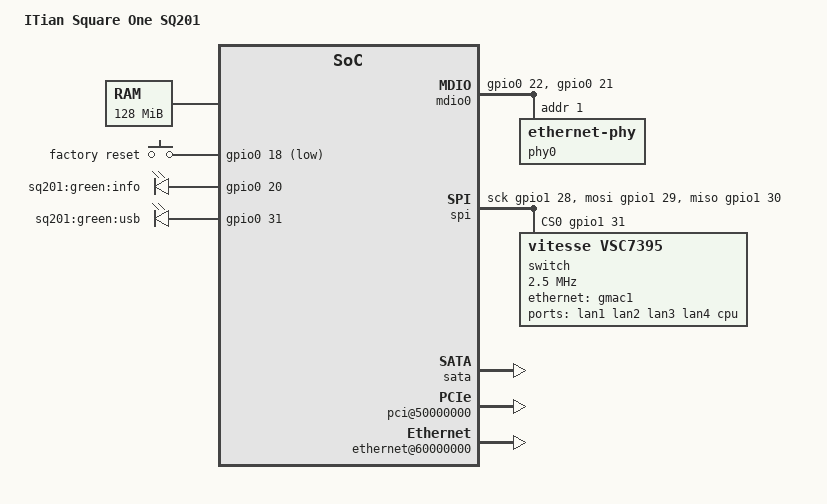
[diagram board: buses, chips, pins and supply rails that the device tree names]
// SPDX-License-Identifier: GPL-2.0
/*
 * Device Tree file for ITian Square One SQ201 NAS
 */

/dts-v1/;

#include "gemini.dtsi"
#include <dt-bindings/input/input.h>

/ {
	model = "ITian Square One SQ201";
	compatible = "itian,sq201", "cortina,gemini";
	#address-cells = <1>;
	#size-cells = <1>;

	memory@0 { /* 128 MB */
		device_type = "memory";
		reg = <0x00000000 0x8000000>;
	};

	chosen {
		bootargs = "console=ttyS0,115200n8 root=/dev/mtdblock2 rw rootfstype=squashfs,jffs2 rootwait";
		stdout-path = &uart0;
	};

	gpio_keys {
		compatible = "gpio-keys";

		button-setup {
			debounce-interval = <50>;
			wakeup-source;
			linux,code = <KEY_SETUP>;
			label = "factory reset";
			/* Conflict with NAND flash */
			gpios = <&gpio0 18 GPIO_ACTIVE_LOW>;
		};
	};

	leds {
		compatible = "gpio-leds";
		led-green-info {
			label = "sq201:green:info";
			/* Conflict with parallel flash */
			gpios = <&gpio0 20 GPIO_ACTIVE_HIGH>;
			default-state = "on";
			linux,default-trigger = "heartbeat";
		};
		led-green-usb {
			label = "sq201:green:usb";
			/* Conflict with parallel and NAND flash */
			gpios = <&gpio0 31 GPIO_ACTIVE_HIGH>;
			default-state = "off";
			linux,default-trigger = "usb-host";
		};
	};

	mdio0: mdio {
		compatible = "virtual,mdio-gpio";
		/* Uses MDC and MDIO */
		gpios = <&gpio0 22 GPIO_ACTIVE_HIGH>, /* MDC */
			<&gpio0 21 GPIO_ACTIVE_HIGH>; /* MDIO */
		#address-cells = <1>;
		#size-cells = <0>;

		/* This is a Marvell 88E1111 ethernet transciever */
		phy0: ethernet-phy@1 {
			reg = <1>;
		};
	};

	spi {
		compatible = "spi-gpio";
		#address-cells = <1>;
		#size-cells = <0>;
		/* Check pin collisions */
		gpio-sck = <&gpio1 28 GPIO_ACTIVE_HIGH>;
		gpio-miso = <&gpio1 30 GPIO_ACTIVE_HIGH>;
		gpio-mosi = <&gpio1 29 GPIO_ACTIVE_HIGH>;
		cs-gpios = <&gpio1 31 GPIO_ACTIVE_HIGH>;
		num-chipselects = <1>;

		switch@0 {
			compatible = "vitesse,vsc7395";
			reg = <0>;
			/* Specified for 2.5 MHz or below */
			spi-max-frequency = <2500000>;
			gpio-controller;
			#gpio-cells = <2>;

			ports {
				#address-cells = <1>;
				#size-cells = <0>;

				port@0 {
					reg = <0>;
					label = "lan1";
				};
				port@1 {
					reg = <1>;
					label = "lan2";
				};
				port@2 {
					reg = <2>;
					label = "lan3";
				};
				port@3 {
					reg = <3>;
					label = "lan4";
				};
				vsc: port@6 {
					reg = <6>;
					label = "cpu";
					ethernet = <&gmac1>;
					phy-mode = "rgmii";
					fixed-link {
						speed = <1000>;
						full-duplex;
						pause;
					};
				};
			};
		};
	};


	soc {
		flash@30000000 {
			/*
			 * Flash access can be enabled, with the side effect
			 * of disabling access to GPIO LED on GPIO0[20] which
			 * reuse one of the parallel flash chip select lines.
			 * Also the default firmware on the machine has the
			 * problem that since it uses the flash, the two LEDS
			 * on the right become numb.
			 */
			/* status = "okay"; */
			/* 16MB of flash */
			reg = <0x30000000 0x01000000>;

			partitions {
				compatible = "redboot-fis";
				/* Eraseblock at 0xfe0000 */
				fis-index-block = <0x1fc>;
			};
		};

		syscon: syscon@40000000 {
			pinctrl {
				/*
				 * gpio0fgrp cover line 18 used by reset button
				 * gpio0ggrp cover line 20 used by info LED
				 * gpio0hgrp cover line 21, 22 used by MDIO for Marvell PHY
				 * gpio0kgrp cover line 31 used by USB LED
				 */
				gpio0_default_pins: pinctrl-gpio0 {
					mux {
						function = "gpio0";
						groups = "gpio0fgrp",
						"gpio0ggrp",
						"gpio0hgrp",
						"gpio0kgrp";
					};
				};
				/*
				 * gpio0dgrp cover lines used by the SPI
				 * to the Vitesse G5x chip.
				 */
				gpio1_default_pins: pinctrl-gpio1 {
					mux {
						function = "gpio1";
						groups = "gpio1dgrp";
					};
				};
				pinctrl-gmii {
					mux {
						function = "gmii";
						groups = "gmii_gmac0_grp", "gmii_gmac1_grp";
					};
					/* Settings come from memory dump in PLATO */
					conf0 {
						pins = "V8 GMAC0 RXDV";
						skew-delay = <0>;
					};
					conf1 {
						pins = "Y7 GMAC0 RXC";
						skew-delay = <15>;
					};
					conf2 {
						pins = "T8 GMAC0 TXEN";
						skew-delay = <7>;
					};
					conf3 {
						pins = "U8 GMAC0 TXC";
						skew-delay = <10>;
					};
					conf4 {
						pins = "T10 GMAC1 RXDV";
						skew-delay = <7>;
					};
					conf5 {
						pins = "Y11 GMAC1 RXC";
						skew-delay = <8>;
					};
					conf6 {
						pins = "W11 GMAC1 TXEN";
						skew-delay = <7>;
					};
					conf7 {
						pins = "V11 GMAC1 TXC";
						skew-delay = <5>;
					};
					conf8 {
						/* The data lines all have default skew */
						pins = "W8 GMAC0 RXD0", "V9 GMAC0 RXD1",
						       "Y8 GMAC0 RXD2", "U9 GMAC0 RXD3",
						       "T7 GMAC0 TXD0", "U6 GMAC0 TXD1",
						       "V7 GMAC0 TXD2", "U7 GMAC0 TXD3",
						       "Y12 GMAC1 RXD0", "V12 GMAC1 RXD1",
						       "T11 GMAC1 RXD2", "W12 GMAC1 RXD3",
						       "U10 GMAC1 TXD0", "Y10 GMAC1 TXD1",
						       "W10 GMAC1 TXD2", "T9 GMAC1 TXD3";
						skew-delay = <7>;
					};
					/* Set up drive strength on GMAC0 and GMAC1 to 16 mA */
					conf9 {
						groups = "gmii_gmac0_grp", "gmii_gmac1_grp";
						drive-strength = <16>;
					};
				};
			};
		};

		sata: sata@46000000 {
			cortina,gemini-ata-muxmode = <0>;
			cortina,gemini-enable-sata-bridge;
			status = "okay";
		};

		gpio0: gpio@4d000000 {
			pinctrl-names = "default";
			pinctrl-0 = <&gpio0_default_pins>;
		};

		gpio1: gpio@4e000000 {
			pinctrl-names = "default";
			pinctrl-0 = <&gpio1_default_pins>;
		};

		pci@50000000 {
			status = "okay";
			interrupt-map-mask = <0xf800 0 0 7>;
			interrupt-map =
				<0x4800 0 0 1 &pci_intc 0>, /* Slot 9 */
				<0x4800 0 0 2 &pci_intc 1>,
				<0x4800 0 0 3 &pci_intc 2>,
				<0x4800 0 0 4 &pci_intc 3>,
				<0x5000 0 0 1 &pci_intc 1>, /* Slot 10 */
				<0x5000 0 0 2 &pci_intc 2>,
				<0x5000 0 0 3 &pci_intc 3>,
				<0x5000 0 0 4 &pci_intc 0>,
				<0x5800 0 0 1 &pci_intc 2>, /* Slot 11 */
				<0x5800 0 0 2 &pci_intc 3>,
				<0x5800 0 0 3 &pci_intc 0>,
				<0x5800 0 0 4 &pci_intc 1>,
				<0x6000 0 0 1 &pci_intc 3>, /* Slot 12 */
				<0x6000 0 0 2 &pci_intc 0>,
				<0x6000 0 0 3 &pci_intc 1>,
				<0x6000 0 0 4 &pci_intc 2>;
		};

		ethernet@60000000 {
			status = "okay";

			ethernet-port@0 {
				phy-mode = "rgmii";
				phy-handle = <&phy0>;
			};
			ethernet-port@1 {
				phy-mode = "rgmii";
				fixed-link {
					speed = <1000>;
					full-duplex;
					pause;
				};
			};
		};

		ata@63000000 {
			status = "okay";
		};
	};
};
